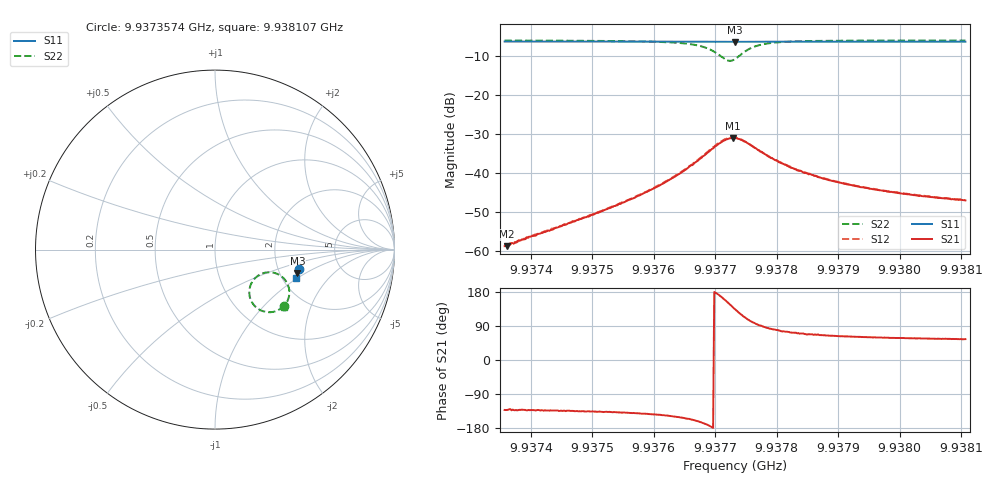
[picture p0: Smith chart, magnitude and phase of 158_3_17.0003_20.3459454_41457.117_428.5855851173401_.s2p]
#  HZ  S  RI  R  50.00
! Rohde & Schwarz Vector Network Analyzer
! Rohde-Schwarz,ZNB20-2Port,1311601062101988,3.16
! Created: UTC 3/20/2024, 10:59:08 PM
! freq[Hz]  re:S11  im:S11  re:S21  im:S21  re:S12  im:S12  re:S22  im:S22
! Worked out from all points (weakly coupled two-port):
!   401 points, 9.9373574 GHz to 9.938107 GHz, reference 50 ohm
!   highest |S21| = -31.07 dB at 9.9377285 GHz (marker M1); lowest = -58.8 dB at 9.9373611 GHz (marker M2)
!   lowest |S11| = -6.4 dB at 9.9377322 GHz (marker M3), VSWR 2.83, Z = 125 - j42.9 ohm
!   |S11| at or under -10 dB: nowhere
!   |S22| runs from -11.3 to -6.0 dB; largest |S21 - S12| = 0.0013
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9.93735736e9  0.4705 -0.1101  -0.000767 -0.000858  -0.000801 -0.000858  0.3849 -0.3146
9.93736111e9  0.4704 -0.1105  -0.000767 -0.000857  -0.000803 -0.000871  0.3847 -0.3151
9.93748293e9  0.4678 -0.1186  -0.00184 -0.00183  -0.00185 -0.00182  0.3693 -0.3276
9.93756165e9  0.4659 -0.124  -0.00348 -0.00295  -0.00356 -0.00294  0.3509 -0.3381
9.9376085e9  0.4648 -0.1272  -0.00558 -0.00398  -0.00575 -0.00391  0.3305 -0.3457
9.93764411e9  0.4635 -0.1299  -0.00884 -0.00472  -0.00909 -0.0047  0.3015 -0.3492
9.93766848e9  0.4626 -0.1315  -0.0129 -0.00465  -0.0133 -0.0045  0.2677 -0.3433
9.93768535e9  0.4616 -0.1325  -0.0172 -0.00311  -0.0177 -0.00272  0.2337 -0.3253
9.93769847e9  0.4608 -0.133  -0.0214 0.00017  -0.0218 0.000793  0.2054 -0.2925
9.93771159e9  0.4601 -0.1332  -0.0243 0.00687  -0.0246 0.00776  0.1912 -0.2345
9.93772096e9  0.4597 -0.133  -0.024 0.0131  -0.024 0.0143  0.2047 -0.1842
9.93772845e9  0.4596 -0.1329  -0.0213 0.0182  -0.0209 0.0193  0.2336 -0.15
9.9377322e9  0.4596 -0.1328  -0.0194 0.02  -0.0188 0.021  0.2522 -0.1381
9.93774157e9  0.4602 -0.1331  -0.0135 0.0229  -0.013 0.0236  0.3024 -0.126
9.93775469e9  0.4606 -0.1338  -0.00631 0.0226  -0.00548 0.0229  0.3586 -0.1411
9.93777531e9  0.461 -0.1354  -8.07e-05 0.0186  0.000679 0.0186  0.4006 -0.1843
9.93779405e9  0.4611 -0.137  0.00241 0.015  0.00277 0.0151  0.4121 -0.2163
9.93782029e9  0.4606 -0.1389  0.00332 0.0116  0.00379 0.0114  0.4139 -0.2459
9.93785778e9  0.4596 -0.1419  0.00353 0.00871  0.00395 0.00866  0.4095 -0.2709
9.93791025e9  0.4584 -0.1454  0.00338 0.0064  0.00353 0.00644  0.4019 -0.2899
9.93798335e9  0.4566 -0.1504  0.00299 0.00485  0.00308 0.0049  0.3933 -0.305
9.93810705e9  0.4535 -0.1584  0.00254 0.00364  0.00265 0.00363  0.3818 -0.3201
